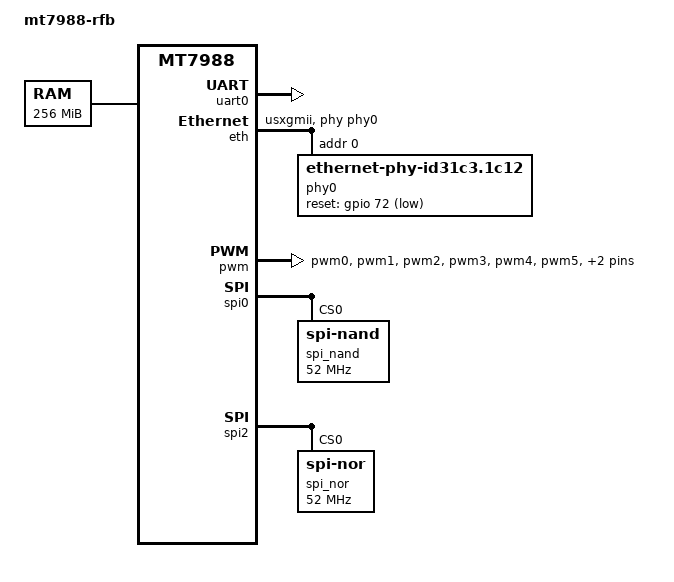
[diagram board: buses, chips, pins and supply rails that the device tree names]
// SPDX-License-Identifier: GPL-2.0
/*
 * Copyright (c) 2022 MediaTek Inc.
 * Author: Sam Shih <sam.shih@mediatek.com>
 */

/dts-v1/;
#include "mt7988.dtsi"
#include <dt-bindings/gpio/gpio.h>

/ {
	model = "mt7988-rfb";
	compatible = "mediatek,mt7988-rfb";
	chosen {
		stdout-path = &uart0;
	};

	memory@40000000 {
		device_type = "memory";
		reg = <0 0x40000000 0 0x10000000>;
	};
};

&uart0 {
	status = "okay";
};

&eth {
	status = "okay";
	mediatek,gmac-id = <1>;
	mediatek,usxgmiisys = <&usxgmiisys1>;
	mediatek,xfi_pextp = <&xfi_pextp1>;
	phy-mode = "usxgmii";
	phy-handle = <&phy0>;

	phy0: eth-phy@0 {
		compatible = "ethernet-phy-id31c3.1c12";
		reg = <0>;
		reset-gpios = <&gpio 72 GPIO_ACTIVE_LOW>;
		reset-assert-us = <100000>;
		reset-deassert-us = <221000>;
	};
};

&pinctrl {
	pwm_pins: pwm-pins {
		mux {
			function = "pwm";
			groups = "pwm0", "pwm1", "pwm2", "pwm3", "pwm4",
				 "pwm5", "pwm6", "pwm7";
		};
	};
};

&pwm {
	pinctrl-names = "default";
	pinctrl-0 = <&pwm_pins>;
	status = "okay";
};

&spi0 {
	#address-cells = <1>;
	#size-cells = <0>;
	status = "okay";
	must_tx;
	enhance_timing;
	dma_ext;
	ipm_design;
	support_quad;
	tick_dly = <2>;
	sample_sel = <0>;

	spi_nand@0 {
		compatible = "spi-nand";
		reg = <0>;
		spi-max-frequency = <52000000>;
	};
};

&spi2 {
	#address-cells = <1>;
	#size-cells = <0>;
	status = "okay";
	must_tx;
	enhance_timing;
	dma_ext;
	ipm_design;
	support_quad;
	tick_dly = <2>;
	sample_sel = <0>;

	spi_nor@0 {
		compatible = "jedec,spi-nor";
		reg = <0>;
		spi-max-frequency = <52000000>;
	};
};
